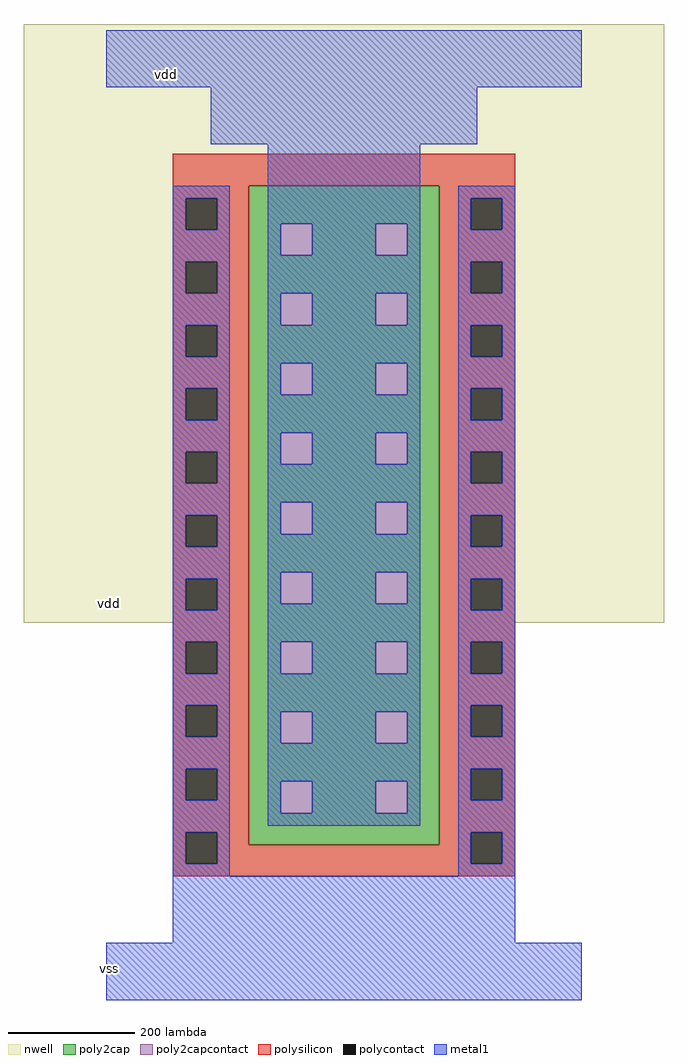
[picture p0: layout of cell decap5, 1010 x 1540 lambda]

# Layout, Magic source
magic
tech amic5n
<< nwell >>
rect -130 550 880 1495
rect 105 150 645 550
<< polysilicon >>
rect 105 1240 645 1290
rect 105 1220 225 1240
rect 105 1170 125 1220
rect 175 1170 225 1220
rect 525 1220 645 1240
rect 105 1120 225 1170
rect 525 1170 575 1220
rect 625 1170 645 1220
rect 105 1070 125 1120
rect 175 1070 225 1120
rect 525 1120 645 1170
rect 525 1070 575 1120
rect 625 1070 645 1120
rect 105 1020 225 1070
rect 525 1020 645 1070
rect 105 970 125 1020
rect 175 970 225 1020
rect 105 920 225 970
rect 525 970 575 1020
rect 625 970 645 1020
rect 105 870 125 920
rect 175 870 225 920
rect 525 920 645 970
rect 105 820 225 870
rect 525 870 575 920
rect 625 870 645 920
rect 105 770 125 820
rect 175 770 225 820
rect 525 820 645 870
rect 105 720 225 770
rect 525 770 575 820
rect 625 770 645 820
rect 105 670 125 720
rect 175 670 225 720
rect 525 720 645 770
rect 105 620 225 670
rect 525 670 575 720
rect 625 670 645 720
rect 105 570 125 620
rect 175 570 225 620
rect 525 620 645 670
rect 105 520 225 570
rect 525 570 575 620
rect 625 570 645 620
rect 525 520 645 570
rect 105 470 125 520
rect 175 470 225 520
rect 525 470 575 520
rect 625 470 645 520
rect 105 420 225 470
rect 105 370 125 420
rect 175 370 225 420
rect 525 420 645 470
rect 105 320 225 370
rect 525 370 575 420
rect 625 370 645 420
rect 105 270 125 320
rect 175 270 225 320
rect 525 320 645 370
rect 105 220 225 270
rect 525 270 575 320
rect 625 270 645 320
rect 105 170 125 220
rect 175 200 225 220
rect 525 220 645 270
rect 525 200 575 220
rect 175 170 575 200
rect 625 170 645 220
rect 105 150 645 170
<< polycontact >>
rect 125 1170 175 1220
rect 575 1170 625 1220
rect 125 1070 175 1120
rect 575 1070 625 1120
rect 125 970 175 1020
rect 575 970 625 1020
rect 125 870 175 920
rect 575 870 625 920
rect 125 770 175 820
rect 575 770 625 820
rect 125 670 175 720
rect 575 670 625 720
rect 125 570 175 620
rect 575 570 625 620
rect 125 470 175 520
rect 575 470 625 520
rect 125 370 175 420
rect 575 370 625 420
rect 125 270 175 320
rect 575 270 625 320
rect 125 170 175 220
rect 575 170 625 220
<< poly2cap >>
rect 225 1180 525 1240
rect 225 1130 275 1180
rect 325 1130 425 1180
rect 475 1130 525 1180
rect 225 1070 525 1130
rect 225 1020 275 1070
rect 325 1020 425 1070
rect 475 1020 525 1070
rect 225 960 525 1020
rect 225 910 275 960
rect 325 910 425 960
rect 475 910 525 960
rect 225 850 525 910
rect 225 800 275 850
rect 325 800 425 850
rect 475 800 525 850
rect 225 740 525 800
rect 225 690 275 740
rect 325 690 425 740
rect 475 690 525 740
rect 225 630 525 690
rect 225 580 275 630
rect 325 580 425 630
rect 475 580 525 630
rect 225 520 525 580
rect 225 470 275 520
rect 325 470 425 520
rect 475 470 525 520
rect 225 410 525 470
rect 225 360 275 410
rect 325 360 425 410
rect 475 360 525 410
rect 225 300 525 360
rect 225 250 275 300
rect 325 250 425 300
rect 475 250 525 300
rect 225 200 525 250
<< poly2capcontact >>
rect 275 1130 325 1180
rect 425 1130 475 1180
rect 275 1020 325 1070
rect 425 1020 475 1070
rect 275 910 325 960
rect 425 910 475 960
rect 275 800 325 850
rect 425 800 475 850
rect 275 690 325 740
rect 425 690 475 740
rect 275 580 325 630
rect 425 580 475 630
rect 275 470 325 520
rect 425 470 475 520
rect 275 360 325 410
rect 425 360 475 410
rect 275 250 325 300
rect 425 250 475 300
<< metal1 >>
rect 0 1395 750 1485
rect 165 1305 585 1395
rect 105 1220 195 1240
rect 105 1170 125 1220
rect 175 1170 195 1220
rect 105 1120 195 1170
rect 105 1070 125 1120
rect 175 1070 195 1120
rect 105 1020 195 1070
rect 105 970 125 1020
rect 175 970 195 1020
rect 105 920 195 970
rect 105 870 125 920
rect 175 870 195 920
rect 105 820 195 870
rect 105 770 125 820
rect 175 770 195 820
rect 105 720 195 770
rect 105 670 125 720
rect 175 670 195 720
rect 105 620 195 670
rect 105 570 125 620
rect 175 570 195 620
rect 105 520 195 570
rect 105 470 125 520
rect 175 470 195 520
rect 105 420 195 470
rect 105 370 125 420
rect 175 370 195 420
rect 105 320 195 370
rect 105 270 125 320
rect 175 270 195 320
rect 105 220 195 270
rect 255 1180 495 1305
rect 255 1130 275 1180
rect 325 1130 425 1180
rect 475 1130 495 1180
rect 255 1070 495 1130
rect 255 1020 275 1070
rect 325 1020 425 1070
rect 475 1020 495 1070
rect 255 960 495 1020
rect 255 910 275 960
rect 325 910 425 960
rect 475 910 495 960
rect 255 850 495 910
rect 255 800 275 850
rect 325 800 425 850
rect 475 800 495 850
rect 255 740 495 800
rect 255 690 275 740
rect 325 690 425 740
rect 475 690 495 740
rect 255 630 495 690
rect 255 580 275 630
rect 325 580 425 630
rect 475 580 495 630
rect 255 520 495 580
rect 255 470 275 520
rect 325 470 425 520
rect 475 470 495 520
rect 255 410 495 470
rect 255 360 275 410
rect 325 360 425 410
rect 475 360 495 410
rect 255 300 495 360
rect 255 250 275 300
rect 325 250 425 300
rect 475 250 495 300
rect 255 230 495 250
rect 555 1220 645 1240
rect 555 1170 575 1220
rect 625 1170 645 1220
rect 555 1120 645 1170
rect 555 1070 575 1120
rect 625 1070 645 1120
rect 555 1020 645 1070
rect 555 970 575 1020
rect 625 970 645 1020
rect 555 920 645 970
rect 555 870 575 920
rect 625 870 645 920
rect 555 820 645 870
rect 555 770 575 820
rect 625 770 645 820
rect 555 720 645 770
rect 555 670 575 720
rect 625 670 645 720
rect 555 620 645 670
rect 555 570 575 620
rect 625 570 645 620
rect 555 520 645 570
rect 555 470 575 520
rect 625 470 645 520
rect 555 420 645 470
rect 555 370 575 420
rect 625 370 645 420
rect 555 320 645 370
rect 555 270 575 320
rect 625 270 645 320
rect 105 170 125 220
rect 175 170 195 220
rect 105 150 195 170
rect 555 220 645 270
rect 555 170 575 220
rect 625 170 645 220
rect 555 150 645 170
rect 105 45 645 150
rect 0 -45 750 45
<< labels >>
flabel metal1 s 95 1415 95 1415 2 FreeSans 400 0 0 0 vdd
port 0 ne
flabel metal1 s 5 5 5 5 2 FreeSans 400 0 0 0 vss
port 1 ne
flabel nwell 5 580 5 580 2 FreeSans 400 0 0 0 vdd
<< properties >>
string LEFclass CORE
string LEFsite core
string FIXED_BBOX 0 0 750 1440
string LEFsymmetry X Y
<< end >>
